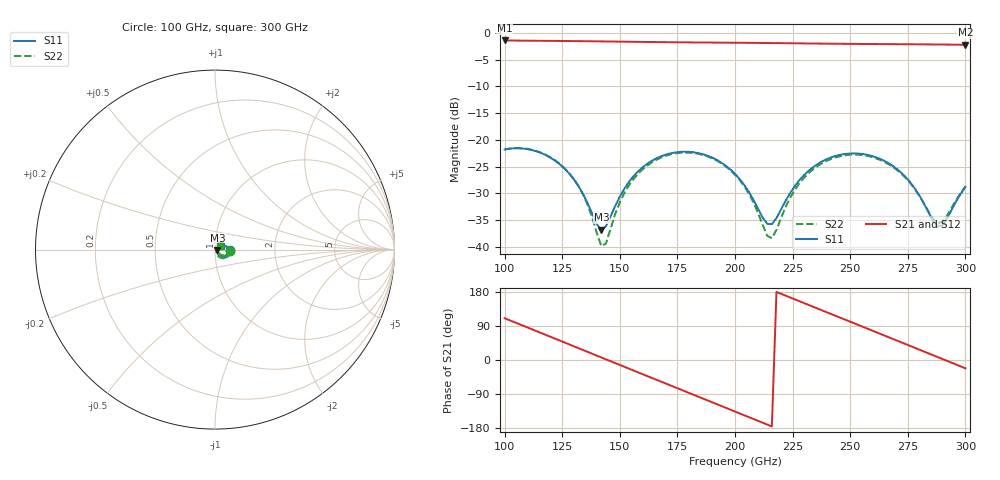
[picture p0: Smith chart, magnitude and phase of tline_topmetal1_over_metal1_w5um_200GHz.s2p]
#  GHZ S DB R 50
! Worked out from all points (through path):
!   101 points, 100 GHz to 300 GHz, reference 50 ohm
!   highest |S21| = -1.42 dB at 100 GHz (marker M1); lowest = -2.2 dB at 300 GHz (marker M2)
!   group delay of S21, straight-line fit = 6.83 ps
!   lowest |S11| = -36.8 dB at 142 GHz (marker M3), VSWR 1.03, Z = 51.4 - j0.398 ohm
!   |S11| at or under -10 dB: start of sweep to end of sweep
!   |S22| runs from -39.9 to -21.6 dB; largest |S21 - S12| = 0
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100  -21.81 -3.5  -1.42 110.3  -1.42 110.3  -21.80 -4.4
116  -22.50 -34.8  -1.49 70.9  -1.49 70.9  -22.45 -37.1
126  -25.39 -51.8  -1.53 46.2  -1.53 46.2  -25.32 -56.0
134  -30.10 -57.3  -1.56 26.4  -1.56 26.4  -30.19 -65.7
142  -36.83 -15.6  -1.60 6.7  -1.60 6.7  -39.90 -26.2
144  -36.16 5.8  -1.61 1.7  -1.61 1.7  -39.39 7.3
150  -30.63 31.0  -1.64 -13.1  -1.64 -13.1  -31.70 37.9
154  -27.87 30.7  -1.66 -22.9  -1.66 -22.9  -28.50 36.1
168  -23.07 9.9  -1.74 -57.3  -1.74 -57.3  -23.31 12.4
184  -22.48 -20.7  -1.80 -96.6  -1.80 -96.6  -22.61 -20.0
200  -26.39 -47.2  -1.85 -136.0  -1.85 -136.0  -26.53 -49.2
206  -29.75 -50.3  -1.87 -150.8  -1.87 -150.8  -30.06 -54.8
214  -35.73 -19.2  -1.90 -170.5  -1.90 -170.5  -37.95 -25.3
216  -35.77 -1.0  -1.91 -175.4  -1.91 -175.4  -38.42 -0.2
226  -28.63 31.1  -1.96 160.0  -1.96 160.0  -29.34 38.6
234  -25.09 22.8  -2.00 140.3  -2.00 140.3  -25.48 28.7
252  -22.55 -9.5  -2.07 96.2  -2.07 96.2  -22.78 -4.8
268  -24.75 -38.8  -2.11 56.9  -2.11 56.9  -24.93 -33.8
278  -29.08 -49.8  -2.14 32.3  -2.14 32.3  -29.18 -43.8
288  -36.21 -15.3  -2.18 7.6  -2.18 7.6  -35.62 -9.1
290  -36.01 2.7  -2.19 2.7  -2.19 2.7  -35.36 7.0
300  -28.83 31.4  -2.23 -21.9  -2.23 -21.9  -28.72 34.0
